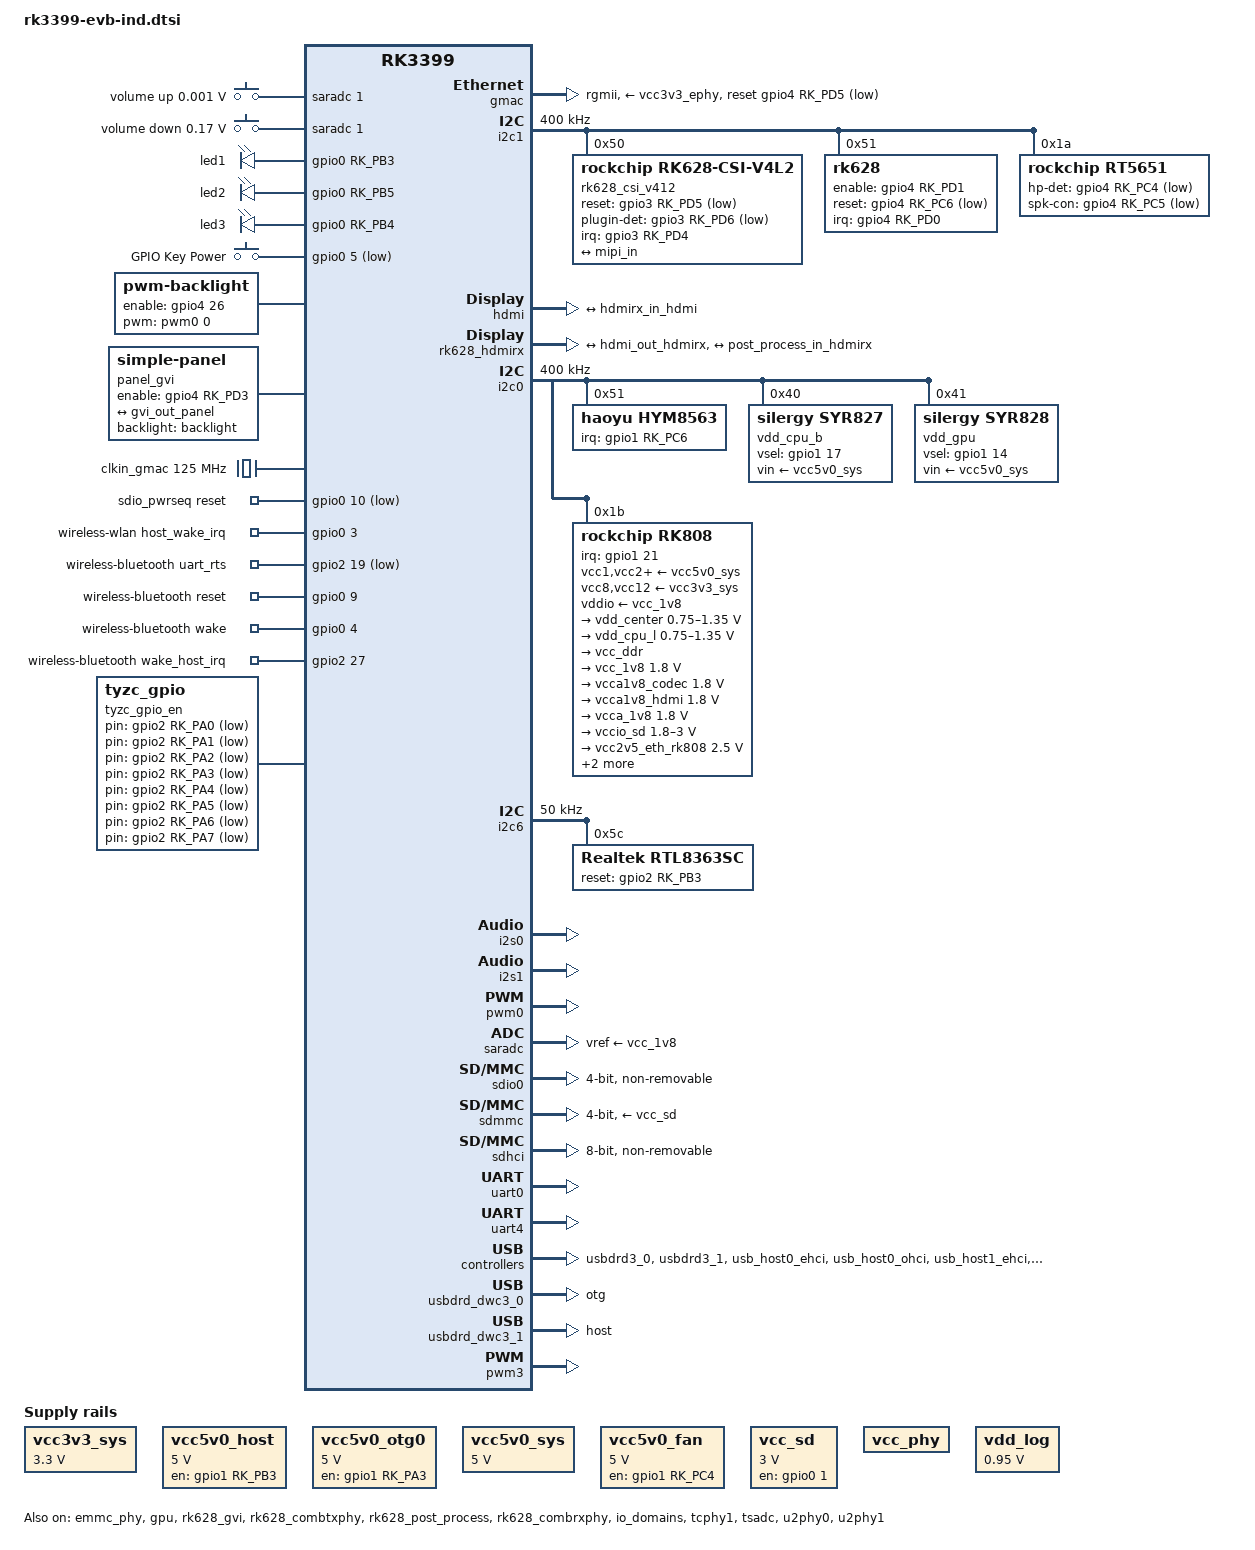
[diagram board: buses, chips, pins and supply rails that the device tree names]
// SPDX-License-Identifier: (GPL-2.0+ OR MIT)
/*
 * Copyright (c) 2019 Fuzhou Rockchip Electronics Co., Ltd
 */

#include "dt-bindings/pwm/pwm.h"
#include "rk3399.dtsi"
#include "rk3399-opp.dtsi"
#include <dt-bindings/sensor-dev.h>
#include "rk3399-vop-clk-set.dtsi"
#include <dt-bindings/input/input.h>
#include <dt-bindings/display/media-bus-format.h>

/ {
	compatible = "rockchip,rk3399-evb-ind", "rockchip,rk3399";

	adc_keys {
		compatible = "adc-keys";
		io-channels = <&saradc 1>;
		io-channel-names = "buttons";
		keyup-threshold-microvolt = <1800000>;
		poll-interval = <100>;

		vol-up-key {
			label = "volume up";
			linux,code = <KEY_VOLUMEUP>;
			press-threshold-microvolt = <1000>;
		};

		vol-down-key {
			label = "volume down";
			linux,code = <KEY_VOLUMEDOWN>;
			press-threshold-microvolt = <170000>;
		};
	};

	gpio-leds {
			compatible = "gpio-leds";

			led1 {
					gpios = <&gpio0 RK_PB3 GPIO_ACTIVE_HIGH>;
					default-state = "on";
			};
			led2 {
					gpios = <&gpio0 RK_PB5 GPIO_ACTIVE_HIGH>;
					default-state = "off";
			};
			led3 {
					gpios = <&gpio0 RK_PB4 GPIO_ACTIVE_HIGH>;
					default-state = "off";
			};
	};

	gpio_keys: gpio-keys {
	    compatible = "gpio-keys";
	    autorepeat;
	    pinctrl-names = "default";
	    pinctrl-0 = <&pwrbtn>;

	  power {
	    debounce-interval = <100>;
	    gpios = <&gpio0 5 GPIO_ACTIVE_LOW>;
	    label = "GPIO Key Power";
	    linux,code = <116>;
	    wakeup-source;
	  };
	};

#if 1
	backlight: backlight {
		status = "okay";
		compatible = "pwm-backlight";
		pwms = <&pwm0 0 120000 0>;
		brightness-levels = <
			  0   1   2   3   4   5   6   7
			  8   9  10  11  12  13  14  15
			 16  17  18  19  20  21  22  23
			 24  25  26  27  28  29  30  31
			 32  33  34  35  36  37  38  39
			 40  41  42  43  44  45  46  47
			 48  49  50  51  52  53  54  55
			 56  57  58  59  60  61  62  63
			 64  65  66  67  68  69  70  71
			 72  73  74  75  76  77  78  79
			 80  81  82  83  84  85  86  87
			 88  89  90  91  92  93  94  95
			 96  97  98  99 100 101 102 103
			104 105 106 107 108 109 110 111
			112 113 114 115 116 117 118 119
			120 121 122 123 124 125 126 127
			128 129 130 131 132 133 134 135
			136 137 138 139 140 141 142 143
			144 145 146 147 148 149 150 151
			152 153 154 155 156 157 158 159
			160 161 162 163 164 165 166 167
			168 169 170 171 172 173 174 175
			176 177 178 179 180 181 182 183
			184 185 186 187 188 189 190 191
			192 193 194 195 196 197 198 199
			200 201 202 203 204 205 206 207
			208 209 210 211 212 213 214 215
			216 217 218 219 220 221 222 223
			224 225 226 227 228 229 230 231
			232 233 234 235 236 237 238 239
			240 241 242 243 244 245 246 247
			248 249 250 251 252 253 254 255>;
		default-brightness-level = <200>;
		enable-gpios = <&gpio4 26 GPIO_ACTIVE_HIGH>;
	};

	
	panel_gvi  {
		compatible = "simple-panel";
		backlight = <&backlight>;
		//power-supply = <&vcc_gvi_vlcd>;
		prepare-delay-ms = <20>;
		enable-gpios = <&gpio4 RK_PD3 GPIO_ACTIVE_HIGH>;
		enable-delay-ms = <200>;
		disable-delay-ms = <20>;
		unprepare-delay-ms = <20>;
		
		//bus_format = <MEDIA_BUS_FMT_RGB888_1X24>;
		width-mm = <136>;
		height-mm = <217>;
		status = "okay";
		display-timings {
			native-mode = <&timing>;
			timing: timing {
				clock-frequency = <594000000>;
				hactive = <3840>;
				vactive = <2160>;
				hback-porch = <296>;
				hfront-porch = <176>;
				vback-porch = <72>;
				vfront-porch = <8>;
				hsync-len = <88>;
				vsync-len = <10>;
				hsync-active = <0>;
				vsync-active = <0>;
				de-active = <0>;
				pixelclk-active = <0>;
			};
		};

		port {
			panel_in_gvi: endpoint {
				remote-endpoint = <&gvi_out_panel>;
			};
		};
	};
#endif

	clkin_gmac: external-gmac-clock {
		compatible = "fixed-clock";
		clock-frequency = <125000000>;
		clock-output-names = "clkin_gmac";
		#clock-cells = <0>;
	};

#if 0
	dummy_codec: dummy-codec { 
		compatible = "rockchip,dummy-codec"; 
		status = "okay";
		#sound-dai-cells = <0>; 
	};
	
	hdmiin-sound { 
		compatible = "simple-audio-card"; 
		simple-audio-card,format = "i2s"; 
		simple-audio-card,name = "rockchip,hdmiin"; 
		simple-audio-card,bitclock-master = <&dailink0_master>; 
		simple-audio-card,frame-master = <&dailink0_master>; 
		status = "okay"; 
		simple-audio-card,cpu { 
		sound-dai = <&i2s1>; 
		};
		dailink0_master: simple-audio-card,codec { 
		sound-dai = <&dummy_codec>; 
		}; 
	};
#endif
	
	dw_hdmi_audio: dw-hdmi-audio {
		status = "disabled";
		compatible = "rockchip,dw-hdmi-audio";
		#sound-dai-cells = <0>;
	};

	rt5651_sound: rt5651-sound {
		compatible = "simple-audio-card";
		simple-audio-card,format = "i2s";
		simple-audio-card,name = "realtek,rt5651-codec";
		simple-audio-card,mclk-fs = <256>;
		simple-audio-card,widgets =
			"Microphone", "Mic Jack",
			"Headphone", "Headphone Jack";
		simple-audio-card,routing =
			"Mic Jack", "MICBIAS1",
			"IN1P", "Mic Jack",
			"Headphone Jack", "HPOL",
			"Headphone Jack", "HPOR";
		simple-audio-card,cpu {
			sound-dai = <&i2s0>;
		};
		simple-audio-card,codec {
			sound-dai = <&rt5651>;
		};
	};

	/*hdmi_sound: hdmi-sound {
		status = "disabled";
		compatible = "simple-audio-card";
		simple-audio-card,format = "i2s";
		simple-audio-card,mclk-fs = <256>;
		simple-audio-card,name = "rockchip,hdmi";

		simple-audio-card,cpu {
			sound-dai = <&i2s2>;
		};
		simple-audio-card,codec {
			sound-dai = <&hdmi>;
		};
	};*/


	/*spdif_sound: spdif-sound {
		status = "okay";
		compatible = "simple-audio-card";
		simple-audio-card,name = "ROCKCHIP,SPDIF";
		simple-audio-card,cpu {
			sound-dai = <&spdif>;
		};
		simple-audio-card,codec {
			sound-dai = <&spdif_out>;
		};
	};

	spdif_out: spdif-out {
		status = "okay";
		compatible = "linux,spdif-dit";
		#sound-dai-cells = <0>;
	};*/
#if 1
	sdio_pwrseq: sdio-pwrseq {
		compatible = "mmc-pwrseq-simple";
		clocks = <&rk808 1>;
		clock-names = "ext_clock";
		pinctrl-names = "default";
		pinctrl-0 = <&wifi_enable_h>;

		/*
		 * On the module itself this is one of these (depending
		 * on the actual card populated):
		 * - SDIO_RESET_L_WL_REG_ON
		 * - PDN (power down when low)
		 */
		reset-gpios = <&gpio0 10 GPIO_ACTIVE_LOW>; /* GPIO0_B2 */
	};


	wireless-wlan {
		compatible = "wlan-platdata";
		rockchip,grf = <&grf>;
		wifi_chip_type = "rtl8822cs";
		sdio_vref = <1800>;
		WIFI,host_wake_irq = <&gpio0 3 GPIO_ACTIVE_HIGH>; /* GPIO0_a3 */
		status = "okay";
	};

	wireless-bluetooth {
		compatible = "bluetooth-platdata";
		clocks = <&rk808 1>;
		clock-names = "ext_clock";
		//wifi-bt-power-toggle;
		uart_rts_gpios = <&gpio2 19 GPIO_ACTIVE_LOW>; /* GPIO2_C3 */
		pinctrl-names = "default", "rts_gpio";
		pinctrl-0 = <&uart0_rts>, <&bt_reset_gpio>, <&bt_wake_gpio>, <&bt_irq_gpio>;
		pinctrl-1 = <&uart0_gpios>;
		//BT,power_gpio  = <&gpio3 19 GPIO_ACTIVE_HIGH>; /* GPIOx_xx */
		BT,reset_gpio    = <&gpio0 9 GPIO_ACTIVE_HIGH>; /* GPIO0_B1 */
		BT,wake_gpio     = <&gpio0 4 GPIO_ACTIVE_HIGH>; /* GPIO0_A4 */
		BT,wake_host_irq = <&gpio2 27 GPIO_ACTIVE_HIGH>; /* GPIO2_D3 */
		status = "okay";
	};
#endif

	vcc3v3_sys: vcc3v3-sys {
		compatible = "regulator-fixed";
		regulator-name = "vcc3v3_sys";
		regulator-always-on;
		regulator-boot-on;
		regulator-min-microvolt = <3300000>;
		regulator-max-microvolt = <3300000>;
	};
	
	vcc5v0_host: vcc5v0-host-regulator {
		compatible = "regulator-fixed";
		regulator-boot-on;
		enable-active-high;
		gpio = <&gpio1 RK_PB3 GPIO_ACTIVE_HIGH>;
		pinctrl-names = "default";
		pinctrl-0 = <&vcc5v0_usb3_en>;
		regulator-name = "vcc5v0_host";
		regulator-always-on;
		regulator-min-microvolt = <5000000>;
		regulator-max-microvolt = <5000000>;
	};

	vcc5v0_otg0: vcc5v0-otg0-regulator {
		compatible = "regulator-fixed";
		regulator-boot-on;
		enable-active-high;
		gpio = <&gpio1 RK_PA3 GPIO_ACTIVE_HIGH>;
		regulator-name = "vcc5v0_otg0";
		regulator-always-on;
		regulator-min-microvolt = <5000000>;
		regulator-max-microvolt = <5000000>;
	};
	
	vcc5v0_sys: vcc5v0-sys {
		compatible = "regulator-fixed";
		//enable-active-high;
		//gpio = <&gpio4 RK_PD2 GPIO_ACTIVE_HIGH>;
		regulator-name = "vcc5v0_sys";
		regulator-always-on;
		regulator-boot-on;
		regulator-min-microvolt = <5000000>;
		regulator-max-microvolt = <5000000>;
	};

	vcc5v0_fan: vcc5v0-fan {
		compatible = "regulator-fixed";
		enable-active-high;
		gpio = <&gpio1 RK_PC4 GPIO_ACTIVE_HIGH>;
		regulator-name = "vcc5v0_fan";
		regulator-always-on;
		regulator-boot-on;
		regulator-min-microvolt = <5000000>;
		regulator-max-microvolt = <5000000>;
	};

	vcc_sd: vcc-sd {
		compatible = "regulator-fixed";
		enable-active-high;
		gpio = <&gpio0 1 GPIO_ACTIVE_HIGH>;
		pinctrl-names = "default";
		pinctrl-0 = <&vcc_sd_h>;
		regulator-name = "vcc_sd";
		regulator-min-microvolt = <3000000>;
		regulator-max-microvolt = <3000000>;
	};

	vcc_phy: vcc-phy-regulator {
		compatible = "regulator-fixed";
		regulator-name = "vcc_phy";
		regulator-always-on;
		regulator-boot-on;
	};

	vdd_log: vdd-log {
		compatible = "regulator-fixed";
		regulator-name = "vdd_log";
		regulator-min-microvolt = <950000>;
		regulator-max-microvolt = <950000>;
		regulator-always-on;
		regulator-boot-on;
	};
	
    tyzc_gpio_en {
		status = "okay";
		compatible = "tyzc_gpio";

		GPIO2A0_EN,pin = <&gpio2 RK_PA0 GPIO_ACTIVE_LOW>;
		GPIO2A1_EN,pin = <&gpio2 RK_PA1 GPIO_ACTIVE_LOW>;
		GPIO2A2_EN,pin = <&gpio2 RK_PA2 GPIO_ACTIVE_LOW>;
		GPIO2A3_EN,pin = <&gpio2 RK_PA3 GPIO_ACTIVE_LOW>;
		GPIO2A4_EN,pin = <&gpio2 RK_PA4 GPIO_ACTIVE_LOW>;
		GPIO2A5_EN,pin = <&gpio2 RK_PA5 GPIO_ACTIVE_LOW>;
		GPIO2A6_EN,pin = <&gpio2 RK_PA6 GPIO_ACTIVE_LOW>;
		GPIO2A7_EN,pin = <&gpio2 RK_PA7 GPIO_ACTIVE_LOW>;
		GPIO2B0_EN,pin = <&gpio2 RK_PB0 GPIO_ACTIVE_LOW>;
		GPIO2B4_EN,pin = <&gpio2 RK_PB4 GPIO_ACTIVE_LOW>;
		
		pinctrl-names = "default";
		pinctrl-0 = <&GPIO2_A0>, <&GPIO2_A1>, <&GPIO2_A2>, <&GPIO2_A3>, <&GPIO2_A4>, <&GPIO2_A5>, <&GPIO2_A6>, <&GPIO2_A7>, <&GPIO2_B0>, <&GPIO2_B4>;
		
	};
};

&cpu_l0 {
	cpu-supply = <&vdd_cpu_l>;
};

&cpu_l1 {
	cpu-supply = <&vdd_cpu_l>;
};

&cpu_l2 {
	cpu-supply = <&vdd_cpu_l>;
};

&cpu_l3 {
	cpu-supply = <&vdd_cpu_l>;
};

&cpu_b0 {
	cpu-supply = <&vdd_cpu_b>;
};

&cpu_b1 {
	cpu-supply = <&vdd_cpu_b>;
};

&dp_in_vopb {
	status = "disabled";
};

&dfi {
	status = "disabled";
};

&dmc {
	status = "disabled";
	center-supply = <&vdd_center>;
	upthreshold = <40>;
	downdifferential = <20>;
	system-status-freq = <
		/*system status         freq(KHz)*/
		SYS_STATUS_NORMAL       928000
		SYS_STATUS_REBOOT       666000
		SYS_STATUS_SUSPEND      328000
		SYS_STATUS_VIDEO_1080P  666000
		SYS_STATUS_VIDEO_4K     928000
		SYS_STATUS_VIDEO_4K_10B 928000
		SYS_STATUS_PERFORMANCE  928000
		SYS_STATUS_BOOST        928000
		SYS_STATUS_DUALVIEW     928000
		SYS_STATUS_ISP          928000
	>;
	vop-bw-dmc-freq = <
	/* min_bw(MB/s) max_bw(MB/s) freq(KHz) */
		0       762      416000
		763     3012     666000
		3013    99999    928000
	>;

	vop-pn-msch-readlatency = <
		0	0x20
		4	0x20
	>;

	auto-min-freq = <328000>;
	auto-freq-en = <0>;
};

&dmc_opp_table {
		compatible = "operating-points-v2";

		opp-200000000 {
			opp-hz = /bits/ 64 <200000000>;
			opp-microvolt = <900000>;
			status = "disabled";
		};
		opp-300000000 {
			opp-hz = /bits/ 64 <300000000>;
			opp-microvolt = <900000>;
			status = "disabled";
		};
		opp-328000000 {
			opp-hz = /bits/ 64 <328000000>;
			opp-microvolt = <900000>;
		};
		opp-400000000 {
			opp-hz = /bits/ 64 <400000000>;
			opp-microvolt = <900000>;
			status = "disabled";
		};
		opp-416000000 {
			opp-hz = /bits/ 64 <416000000>;
			opp-microvolt = <900000>;
		};
		opp-528000000 {
			opp-hz = /bits/ 64 <528000000>;
			opp-microvolt = <900000>;
			status = "disabled";
		};
		opp-600000000 {
			opp-hz = /bits/ 64 <600000000>;
			opp-microvolt = <900000>;
			status = "disabled";
		};
		opp-666000000 {
			opp-hz = /bits/ 64 <666000000>;
			opp-microvolt = <900000>;
		};
		opp-800000000 {
			opp-hz = /bits/ 64 <800000000>;
			opp-microvolt = <900000>;
			status = "disabled";
		};
		opp-856000000 {
			opp-hz = /bits/ 64 <856000000>;
			opp-microvolt = <900000>;
		};
		opp-928000000 {
			opp-hz = /bits/ 64 <928000000>;
			opp-microvolt = <900000>;
		};
};

&emmc_phy {
	status = "okay";
};

&gmac {
	phy-supply = <&vcc3v3_ephy>;
	phy-mode = "rgmii";
	clock_in_out = "input";
	snps,reset-gpio = <&gpio4 RK_PD5 GPIO_ACTIVE_LOW>;
	snps,reset-active-low;
	snps,reset-delays-us = <0 20000 100000>;
	assigned-clocks = <&cru SCLK_RMII_SRC>;
	assigned-clock-parents = <&clkin_gmac>;
	pinctrl-names = "default";
	pinctrl-0 = <&rgmii_pins>;
	tx_delay = <0x28>;
	rx_delay = <0x11>;
	status = "okay";
};

&gpu {
	status = "okay";
	mali-supply = <&vdd_gpu>;
};
 
&i2c1 { 
	 clock-frequency = <400000>; 
	 status = "okay";

	rk628_csi_v412:rk628-csi-v412@50 {
		reg = <0x50>;
		compatible = "rockchip,rk628-csi-v4l2";
		status = "okay";
		interrupt-parent = <&gpio3>;
		interrupts = <RK_PD4 IRQ_TYPE_LEVEL_HIGH>;
		//enable-gpios = <&gpio3 RK_PD5 GPIO_ACTIVE_HIGH>;
		reset-gpios = <&gpio3 RK_PD5 GPIO_ACTIVE_LOW>;
		plugin-det-gpios = <&gpio3 RK_PD6 GPIO_ACTIVE_LOW>;

		pinctrl-names = "default";
		pinctrl-0 = <&rk628_det>,<&rk628_reset>;

	
		rockchip,camera-module-index = <0>;
		rockchip,camera-module-facing = "back";
		rockchip,camera-module-name = "RK628-CSI";
		rockchip,camera-module-lens-name = "NC";

		port {
			hdmiin_out0: endpoint {
				remote-endpoint = <&mipi_in>;
				data-lanes = <1 2 3 4>;
			};
		};
	};

#if 1
	 rk628: rk628@51 {
		// compatible = "rockchip,rk628";	 
		 reg = <0x51>;
		 status = "okay";
		 interrupt-parent = <&gpio4>; 
		 interrupts = <RK_PD0 IRQ_TYPE_LEVEL_HIGH>; 
		 enable-gpios = <&gpio4 RK_PD1 GPIO_ACTIVE_HIGH>; 
		 reset-gpios = <&gpio4 RK_PC6 GPIO_ACTIVE_LOW>;
		 pinctrl-names = "default";
		 pinctrl-0 = <&rk628_rst>;
	 };
#endif

	rt5651: rt5651@1a {
		compatible = "rockchip,rt5651";
		reg = <0x1a>;
		clocks = <&cru SCLK_I2S_8CH_OUT>;
		clock-names = "mclk";
		pinctrl-names = "default";
		pinctrl-0 = <&i2s_8ch_mclk>;
		hp-det-gpio = <&gpio4 RK_PC4 GPIO_ACTIVE_LOW>;
		spk-con-gpio = <&gpio4 RK_PC5 GPIO_ACTIVE_LOW>;
		#sound-dai-cells = <0>;
	};
};

#if 1

#include <arm/rk628.dtsi>
 
&hdmi {
 	status = "okay";
	
		ports {
		#address-cells = <1>;
		#size-cells = <0>;
		port@1 {
			reg = <1>;

			hdmi_out_hdmirx: endpoint {
				remote-endpoint = <&hdmirx_in_hdmi>;
			};
		};
	};
};

&rk628_gvi {
	pinctrl-names = "default";
	pinctrl-0 = <&rk628_gvi_hpd_pins>, <&rk628_gvi_lock_pins>;
	status = "okay";
	rockchip,lane-num = <8>;

	//rockchip,division-mode;

	ports {
		#address-cells = <1>;
		#size-cells = <0>;

		port@0 {
			reg = <0>;

			gvi_in_post_process: endpoint {
				remote-endpoint = <&post_process_out_gvi>;
			};
		};

		port@1 {
			reg = <1>;

			gvi_out_panel: endpoint {
				remote-endpoint = <&panel_in_gvi>;
			};
		};
	};
};

&rk628_combtxphy {
	status = "okay";
};

&rk628_post_process {
	status = "okay";

#if 0
	display-timings {
			native-mode = <&timing1>;

			timing1: timing1 {
				/*clock-frequency = <594000000>;
				hactive = <3840>;
				vactive = <2160>;
				hback-porch = <296>;
				hfront-porch = <176>;
				vback-porch = <72>;
				vfront-porch = <8>;
				hsync-len = <88>;
				vsync-len = <10>;
				hsync-active = <0>;
				vsync-active = <0>;
				de-active = <0>;
				pixelclk-active = <0>;*/
				clock-frequency = <148500000>;
				hactive = <1920>;
				vactive = <1080>;
				hback-porch = <148>;
				hfront-porch = <88>;
				vback-porch = <36>;
				vfront-porch = <4>;
				hsync-len = <44>;
				vsync-len = <5>;
				hsync-active = <0>;
				vsync-active = <0>;
				de-active = <0>;
				pixelclk-active = <0>;
			};
	};
#endif

	ports {
		#address-cells = <1>;
		#size-cells = <0>;

		port@0 {
			reg = <0>;

			post_process_in_hdmirx: endpoint {
				remote-endpoint = <&hdmirx_out_post_process>;
			};
		};


		port@1 {
			reg = <1>;

			post_process_out_gvi: endpoint {
				remote-endpoint = <&gvi_in_post_process>;
			};
		};
	};
};

&rk628_combrxphy {
	status = "okay";
};

&rk628_hdmirx {
	status = "okay";

	ports {
		#address-cells = <1>;
		#size-cells = <0>;

		port@0 {
			reg = <0>;

			hdmirx_in_hdmi: endpoint {
				remote-endpoint = <&hdmi_out_hdmirx>;
			};
		};
		port@1 {
			reg = <1>;

			hdmirx_out_post_process: endpoint {
				remote-endpoint = <&post_process_in_hdmirx>;
			};
		};
	};
};

&rk628_xin_osc0_func {
	compatible = "fixed-factor-clock";
	status = "okay";
	clocks = <&cru SCLK_TESTCLKOUT2>;
	clock-mult = <1>;
	clock-div = <1>;
};

&rk628 {
	pinctrl-names = "default"; 
	pinctrl-0 = <&rk628_rst>, <&clk_testout2>; 
	assigned-clocks = <&cru SCLK_TESTCLKOUT2>; 
	assigned-clock-rates = <24000000>;
};
#endif

&i2c0 {
	status = "okay";
	i2c-scl-rising-time-ns = <168>;
	i2c-scl-falling-time-ns = <4>;
	clock-frequency = <400000>;


	hym8563: hym8563@51 {
			compatible = "haoyu,hym8563";
			reg = <0x51>;

			pinctrl-names = "default";
			pinctrl-0 = <&rtc_int>;

			interrupt-parent = <&gpio1>;
			interrupts = <RK_PC6 IRQ_TYPE_LEVEL_LOW>;
	};

	vdd_cpu_b: syr827@40 {
		compatible = "silergy,syr827";
		reg = <0x40>;
		vin-supply = <&vcc5v0_sys>;
		regulator-compatible = "fan53555-reg";
		pinctrl-names = "default";
		pinctrl-0 = <&vsel1_gpio>;
		vsel-gpios = <&gpio1 17 GPIO_ACTIVE_HIGH>;
		regulator-name = "vdd_cpu_b";
		regulator-min-microvolt = <712500>;
		regulator-max-microvolt = <1500000>;
		regulator-ramp-delay = <1000>;
		fcs,suspend-voltage-selector = <1>;
		regulator-always-on;
		regulator-boot-on;
		regulator-initial-state = <3>;
			regulator-state-mem {
			regulator-off-in-suspend;
		};
	};

	vdd_gpu: syr828@41 {
		compatible = "silergy,syr828";
		reg = <0x41>;
		vin-supply = <&vcc5v0_sys>;
		regulator-compatible = "fan53555-reg";
		pinctrl-names = "default";
		pinctrl-0 = <&vsel2_gpio>;
		vsel-gpios = <&gpio1 14 GPIO_ACTIVE_HIGH>;
		regulator-name = "vdd_gpu";
		regulator-min-microvolt = <712500>;
		regulator-max-microvolt = <1500000>;
		regulator-ramp-delay = <1000>;
		fcs,suspend-voltage-selector = <1>;
		regulator-always-on;
		regulator-boot-on;
		regulator-initial-state = <3>;
			regulator-state-mem {
			regulator-off-in-suspend;
		};
	};

	rk808: pmic@1b {
		compatible = "rockchip,rk808";
		reg = <0x1b>;
		interrupt-parent = <&gpio1>;
		interrupts = <21 IRQ_TYPE_LEVEL_LOW>;
		pinctrl-names = "default";
		pinctrl-0 = <&pmic_int_l &pmic_dvs2>;
		rockchip,system-power-controller;
		wakeup-source;
		#clock-cells = <1>;
		clock-output-names = "xin32k", "rk808-clkout2";

		vcc1-supply = <&vcc5v0_sys>;
		vcc2-supply = <&vcc5v0_sys>;
		vcc3-supply = <&vcc5v0_sys>;
		vcc4-supply = <&vcc5v0_sys>;
		vcc6-supply = <&vcc5v0_sys>;
		vcc7-supply = <&vcc5v0_sys>;
		vcc8-supply = <&vcc3v3_sys>;
		vcc9-supply = <&vcc5v0_sys>;
		vcc10-supply = <&vcc5v0_sys>;
		vcc11-supply = <&vcc5v0_sys>;
		vcc12-supply = <&vcc3v3_sys>;
		vddio-supply = <&vcc_1v8>;

		regulators {
			vdd_center: DCDC_REG1 {
				regulator-always-on;
				regulator-boot-on;
				regulator-min-microvolt = <750000>;
				regulator-max-microvolt = <1350000>;
				regulator-ramp-delay = <6001>;
				regulator-name = "vdd_center";
				regulator-state-mem {
					regulator-off-in-suspend;
				};
			};

			vdd_cpu_l: DCDC_REG2 {
				regulator-always-on;
				regulator-boot-on;
				regulator-min-microvolt = <750000>;
				regulator-max-microvolt = <1350000>;
				regulator-ramp-delay = <6001>;
				regulator-name = "vdd_cpu_l";
				regulator-state-mem {
					regulator-off-in-suspend;
				};
			};

			vcc_ddr: DCDC_REG3 {
				regulator-always-on;
				regulator-boot-on;
				regulator-name = "vcc_ddr";
				regulator-state-mem {
					regulator-on-in-suspend;
				};
			};

			vcc_1v8: DCDC_REG4 {
				regulator-always-on;
				regulator-boot-on;
				regulator-min-microvolt = <1800000>;
				regulator-max-microvolt = <1800000>;
				regulator-name = "vcc_1v8";
				regulator-state-mem {
					regulator-on-in-suspend;
					regulator-suspend-microvolt = <1800000>;
				};
			};

			vcca1v8_codec: LDO_REG1 {
				regulator-always-on;
				regulator-boot-on;
				regulator-min-microvolt = <1800000>;
				regulator-max-microvolt = <1800000>;
				regulator-name = "vcca1v8_codec";
				regulator-state-mem {
					regulator-on-in-suspend;
					regulator-suspend-microvolt = <1800000>;
				};
			};

			vcca1v8_hdmi: LDO_REG2 {
				regulator-always-on;
				regulator-boot-on;
				regulator-min-microvolt = <1800000>;
				regulator-max-microvolt = <1800000>;
				regulator-name = "vcca1v8_hdmi";
				regulator-state-mem {
					regulator-on-in-suspend;
					regulator-suspend-microvolt = <1800000>;
				};
			};

			vcca_1v8: LDO_REG3 {
				regulator-always-on;
				regulator-boot-on;
				regulator-min-microvolt = <1800000>;
				regulator-max-microvolt = <1800000>;
				regulator-name = "vcca_1v8";
				regulator-state-mem {
					regulator-on-in-suspend;
					regulator-suspend-microvolt = <1800000>;
				};
			};

			vccio_sd: LDO_REG4 {
				regulator-always-on;
				regulator-boot-on;
				regulator-min-microvolt = <1800000>;
				regulator-max-microvolt = <3000000>;
				regulator-name = "vccio_sd";
				regulator-state-mem {
					regulator-on-in-suspend;
					regulator-suspend-microvolt = <3000000>;
				};
			};

			vcc2v5_eth_rk808: LDO_REG5 {
				regulator-always-on;
				regulator-boot-on;
				regulator-min-microvolt = <2500000>;
				regulator-max-microvolt = <2500000>;
				regulator-name = "vcc2v5_eth_rk808";
				regulator-state-mem {
					regulator-off-in-suspend;
				};
			};

			vcc_1v5: LDO_REG6 {
				regulator-always-on;
				regulator-boot-on;
				regulator-min-microvolt = <1500000>;
				regulator-max-microvolt = <1500000>;
				regulator-name = "vcc_1v5";
				regulator-state-mem {
					regulator-on-in-suspend;
					regulator-suspend-microvolt = <1500000>;
				};
			};

			vcca0v9_hdmi: LDO_REG7 {
				regulator-always-on;
				regulator-boot-on;
				regulator-min-microvolt = <900000>;
				regulator-max-microvolt = <900000>;
				regulator-name = "vcca0v9_hdmi";
				regulator-state-mem {
					regulator-off-in-suspend;
				};
			};

			vcc_3v0: LDO_REG8 {
				regulator-always-on;
				regulator-boot-on;
				regulator-min-microvolt = <3000000>;
				regulator-max-microvolt = <3000000>;
				regulator-name = "vcc_3v0";
				regulator-state-mem {
					regulator-on-in-suspend;
					regulator-suspend-microvolt = <3000000>;
				};
			};

			vcc3v3_ephy: SWITCH_REG1 {
				regulator-always-on;
				regulator-boot-on;
				regulator-name = "vcc3v3_ephy";
				regulator-state-mem {
					regulator-off-in-suspend;
				};
			};

			vcc3v3_hdmi_rx: SWITCH_REG2 {
				regulator-always-on;
				regulator-boot-on;
				regulator-name = "vcc3v3_hdmi_rx";
				regulator-state-mem {
					regulator-off-in-suspend;
				};
			};
		};
	};
};

&i2c6 {
	status = "okay";
	clock-frequency = <50000>;
	
	 rtl8363sc: rtl8363sc@5c {
		status = "okay";
		compatible = "Realtek,rtl8363sc";
		reg = <0x5c>;
		reset-gpio = <&gpio2 RK_PB3 GPIO_ACTIVE_HIGH>;
  };
};

&i2s0 {
	status = "okay";
	pinctrl-names = "default";
	pinctrl-0 = <&i2s0_2ch_bus>;
	rockchip,playback-channels = <2>;
	rockchip,capture-channels = <2>;
	#sound-dai-cells = <0>;
};

&i2s1 {
	#sound-dai-cells = <0>;
	status = "okay";
};

&i2s2 {
	#sound-dai-cells = <0>;
	dmas = <&dmac_bus 4>;
	dma-names = "tx";
	status = "disabled";
};

&io_domains {
	status = "okay";

	bt656-supply = <&vcc_3v0>;		/* bt656_gpio2ab_ms */
	audio-supply = <&vcc_3v0>;	/* audio_gpio3d4a_ms */
	sdmmc-supply = <&vccio_sd>;		/* sdmmc_gpio4b_ms */
	gpio1830-supply = <&vcc_3v0>;		/* gpio1833_gpio4cd_ms */
};

&pmu_io_domains {
	status = "okay";
	pmu1830-supply = <&vcc_1v8>;
};

&pwm0 {
	status = "okay";
};

&rockchip_suspend {
	status = "okay";
	rockchip,sleep-debug-en = <1>;
	rockchip,sleep-mode-config = <
		(0
		| RKPM_SLP_ARMPD
		| RKPM_SLP_PERILPPD
		| RKPM_SLP_DDR_RET
		| RKPM_SLP_PLLPD
		| RKPM_SLP_CENTER_PD
		| RKPM_SLP_AP_PWROFF
		)
		>;
	rockchip,wakeup-config = <
		(0
		| RKPM_GPIO_WKUP_EN
		| RKPM_PWM_WKUP_EN
		)
		>;
		rockchip,pwm-regulator-config = <
		(0
		| PWM2_REGULATOR_EN
		)
		>;
		rockchip,power-ctrl =
		<&gpio1 17 GPIO_ACTIVE_HIGH>,
		<&gpio1 14 GPIO_ACTIVE_HIGH>;
};

&saradc {
	status = "okay";
};

&spdif {
	status = "disabled";
	pinctrl-0 = <&spdif_bus>;
	i2c-scl-rising-time-ns = <450>;
	i2c-scl-falling-time-ns = <15>;
	#sound-dai-cells = <0>;
};

#if 1
&sdio0 {
	clock-frequency = <100000000>;
	clock-freq-min-max = <200000 100000000>;
	supports-sdio;
	bus-width = <4>;
	disable-wp;
	cap-sd-highspeed;
	cap-sdio-irq;
	keep-power-in-suspend;
	mmc-pwrseq = <&sdio_pwrseq>;
	non-removable;
	num-slots = <1>;
	pinctrl-names = "default";
	pinctrl-0 = <&sdio0_bus4 &sdio0_cmd &sdio0_clk>;
	//sd-uhs-sdr104;
	status = "okay";
};
#endif

&sdmmc {
	clock-frequency = <150000000>;
	clock-freq-min-max = <100000 150000000>;
	supports-sd;
	bus-width = <4>;
	cap-mmc-highspeed;
	cap-sd-highspeed;
	disable-wp;
	num-slots = <1>;
	sd-uhs-sdr104;
	vmmc-supply = <&vcc_sd>;
	vqmmc-supply = <&vccio_sd>;
	pinctrl-names = "default";
	pinctrl-0 = <&sdmmc_clk &sdmmc_cmd &sdmmc_cd &sdmmc_bus4>;
	status = "okay";
};

&sdhci {
	bus-width = <8>;
	mmc-hs400-1_8v;
	supports-emmc;
	non-removable;
	keep-power-in-suspend;
	mmc-hs400-enhanced-strobe;
	status = "okay";
};

&saradc {
	status = "okay";
	vref-supply = <&vcc_1v8>;
};

&tcphy0 {
	//extcon = <&fusb0>;
	status = "disabled";
};

&tcphy1 {
	status = "okay";
};

&tsadc {
	/* tshut mode 0:CRU 1:GPIO */
	rockchip,hw-tshut-mode = <1>;
	/* tshut polarity 0:LOW 1:HIGH */
	rockchip,hw-tshut-polarity = <1>;
	status = "okay";
};

&uart0 {
	pinctrl-names = "default";
	pinctrl-0 = <&uart0_xfer &uart0_cts>;
	status = "okay";
};

&uart2 {
	status = "disabled";
};

&uart4 {
	status = "okay";
};

&u2phy0 {
	status = "okay";
	//extcon = <&fusb0>;

	u2phy0_otg: otg-port {
		status = "okay";
	};

	u2phy0_host: host-port {
		phy-supply = <&vcc5v0_host>;
		status = "okay";
	};
};

&u2phy1 {
	status = "okay";

	u2phy1_otg: otg-port {
		status = "okay";
	};

	u2phy1_host: host-port {
		phy-supply = <&vcc5v0_host>;
		status = "okay";
	};
};

&usbdrd3_0 {
	status = "okay";
};

&usbdrd3_1 {
	status = "okay";
};

&usbdrd_dwc3_0 {
	dr_mode = "otg";
	//phys = <&u2phy0_otg>;
	//phy-names = "usb2-phy";
	status = "okay";
};

&usbdrd_dwc3_1 {
	status = "okay";
	dr_mode = "host";
};

&usb_host0_ehci {
	status = "okay";
};

&usb_host0_ohci {
	status = "okay";
};

&usb_host1_ehci {
	status = "okay";
};

&usb_host1_ohci {
	status = "okay";
};

&vopb {
	assigned-clocks = <&cru DCLK_VOP0_DIV>;
	assigned-clock-parents = <&cru PLL_VPLL>;
};

&vopl {
	assigned-clocks = <&cru DCLK_VOP1_DIV>;
	assigned-clock-parents = <&cru PLL_CPLL>;
};

&pwm3 {
	status = "okay";
	interrupts = <GIC_SPI 61 IRQ_TYPE_LEVEL_HIGH 0>;
	compatible = "rockchip,remotectl-pwm";
	remote_pwm_id = <3>;
	handle_cpu_id = <0>;
	pinctrl-names = "default";

	ir_key1 {
		rockchip,usercode = <0x654C>;
		rockchip,key_table =
			<0xf5	KEY_POWER>,
			<0xf0	KEY_MUTE>,
			<0xf4	KEY_UP>,//
			<0xf1	KEY_DOWN>,//
			<0xef	KEY_LEFT>,
			<0xee	KEY_RIGHT>,
			<0xf2	KEY_ENTER>,//
			<0xe2	KEY_BACK>,
			<0xe9	KEY_HOME>,
			<0xea	KEY_VOLUMEUP>,
			<0xe3	KEY_VOLUMEDOWN>;
	};
};


&pinctrl {

	tyzc_gpio{
		GPIO2_A0:GPIO2-A0 {
			rockchip,pins =
				<2 RK_PA0 RK_FUNC_GPIO &pcfg_pull_down>;
		};
		
		GPIO2_A1:GPIO2-A1 {
			rockchip,pins =
				<2 RK_PA1 RK_FUNC_GPIO &pcfg_pull_down>;
		};
		GPIO2_A2:GPIO2-A2 {
			rockchip,pins =
				<2 RK_PA2 RK_FUNC_GPIO &pcfg_pull_down>;
		};
		GPIO2_A3:GPIO2-A3 {
			rockchip,pins =
				<2 RK_PA3 RK_FUNC_GPIO &pcfg_pull_down>;
		};
		GPIO2_A4:GPIO2-A4 {
			rockchip,pins =
				<2 RK_PA4 RK_FUNC_GPIO &pcfg_pull_down>;
		};
		GPIO2_A5:GPIO2-A5 {
			rockchip,pins =
				<2 RK_PA5 RK_FUNC_GPIO &pcfg_pull_down>;
		};
		GPIO2_A6:GPIO2-A6 {
			rockchip,pins =
				<2 RK_PA6 RK_FUNC_GPIO &pcfg_pull_down>;
		};
		GPIO2_A7:GPIO2-A7 {
			rockchip,pins =
				<2 RK_PA7 RK_FUNC_GPIO &pcfg_pull_down>;
		};
		GPIO2_B0:GPIO2-B0 {
			rockchip,pins =
				<2 RK_PB0 RK_FUNC_GPIO &pcfg_pull_down>;
		};
		GPIO2_B4:GPIO2-B4 {
			rockchip,pins =
				<2 RK_PB4 RK_FUNC_GPIO &pcfg_pull_down>;
		};		
	};
	
	rk628 {
		rk628_reset: rk628-rst-drv {
			rockchip,pins =
				<3 RK_PD5 RK_FUNC_GPIO &pcfg_pull_up>;
		};
		rk628_det: rk628-det-drv {
			rockchip,pins =
				<3 RK_PD6 RK_FUNC_GPIO &pcfg_pull_up>;
		};
	};
	
	 rk628_gpio { 
		rk628_rst: rk628_rst { 
		rockchip,pins = <4 RK_PC6 RK_FUNC_GPIO &pcfg_pull_none>; 
		}; 
	 }; 

	 test { 
		clk_testout2: clk-testout2{ 
		rockchip,pins = <0 RK_PB0 RK_FUNC_3 &pcfg_pull_none>; 
		}; 
	 };

	vcc5v0 {
		vcc5v0_usb3_en: vcc5v0_usb3_en {
			rockchip,pins = <1 RK_PB3 RK_FUNC_GPIO &pcfg_pull_up>;
		};
	};

	i2s1 {
		i2s1_2ch_bus: i2s1-2ch-bus {
			rockchip,pins =
				<4 RK_PA3 1 &pcfg_pull_none>,
				<4 RK_PA5 1 &pcfg_pull_none>,
				<4 RK_PA6 1 &pcfg_pull_none>,
				<4 RK_PA7 1 &pcfg_pull_none>;
		};
	};

	rtc {
		/omit-if-no-ref/
		rtc_int: rtc-int {
			rockchip,pins = <1 RK_PC6 RK_FUNC_GPIO &pcfg_pull_up>;
		};
	};
	
	pmic {
		pmic_int_l: pmic-int-l {
			rockchip,pins =
				<1 RK_PC5 RK_FUNC_GPIO &pcfg_pull_up>;
		};

		pmic_dvs2: pmic-dvs2 {
			rockchip,pins =
				<1 RK_PA5 RK_FUNC_GPIO &pcfg_pull_down>;
		};

		vsel1_gpio: vsel1-gpio {
			rockchip,pins =
				<1 RK_PC1 RK_FUNC_GPIO &pcfg_pull_down>;
		};

		vsel2_gpio: vsel2-gpio {
			rockchip,pins =
				<1 RK_PB6 RK_FUNC_GPIO &pcfg_pull_down>;
		};
	};

	sdio-pwrseq {
		wifi_enable_h: wifi-enable-h {
			rockchip,pins =
				<0 RK_PB2 RK_FUNC_GPIO &pcfg_pull_none>;
		};
	};

	wireless-bluetooth {
		uart0_gpios: uart0-gpios {
			rockchip,pins =
				<2 RK_PC3 RK_FUNC_GPIO &pcfg_pull_none>;
		};

		bt_reset_gpio: bt-reset-gpio {
			rockchip,pins =
				<0 RK_PB1 RK_FUNC_GPIO &pcfg_pull_none>;
		};

		bt_wake_gpio: bt-wake-gpio {
			rockchip,pins =
				<0 RK_PA4 RK_FUNC_GPIO &pcfg_pull_none>;
		};

		bt_irq_gpio: bt-irq-gpio {
			rockchip,pins =
				<2 RK_PD3 RK_FUNC_GPIO &pcfg_pull_down>;
		};
	};


	usb2 {
		host_vbus_drv: host-vbus-drv {
			rockchip,pins =
				<0 RK_PB0 RK_FUNC_GPIO &pcfg_pull_none>;
		};
	};

	vcc_sd {
		vcc_sd_h: vcc-sd-h {
			rockchip,pins =
				<0 RK_PA1 RK_FUNC_GPIO &pcfg_pull_up>;
		};
	};
	
	buttons {
		pwrbtn: pwrbtn {
		rockchip,pins = <0 5 0 &pcfg_pull_up>;
		};
	};

};
